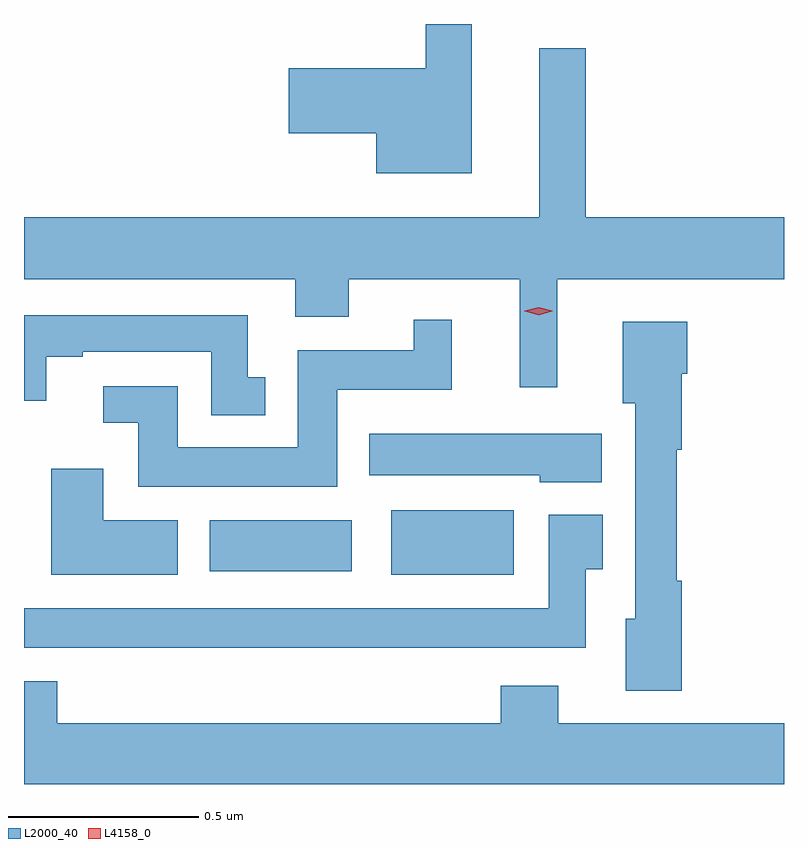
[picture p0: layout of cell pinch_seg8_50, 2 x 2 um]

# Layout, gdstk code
import gdstk
lib = gdstk.Library(unit=1e-6, precision=1e-09)
def R(c, l, rs):  # rectangles x0, y0, x1, y1
    for r in rs: c.add(gdstk.rectangle(r[:2], r[2:], *l))
def P(c, l, *ps):  # polygons
    for p in ps: c.add(gdstk.Polygon(p, *l))
L2000_40 = (2000, 40)
L4158_0 = (4158, 0)

pinch_seg8_50 = lib.new_cell('pinch_seg8_50')
R(pinch_seg8_50, L2000_40, [(887.567,1158.347,887.89,1158.517), (887.09,1158.356,887.464,1158.49)])
P(pinch_seg8_50, L2000_40, [(887.779,1159.796),(887.658,1159.796),(887.658,1159.679),(887.298,1159.679),(887.298,1159.508),(887.528,1159.508),(887.528,1159.403),(887.779,1159.403)],
  [(888.004,1159.124),(888.601,1159.124),(888.601,1159.288),(888.079,1159.288),(888.079,1159.732),(887.957,1159.732),(887.957,1159.288),(886.601,1159.288),(886.601,1159.124),(887.315,1159.124),(887.315,1159.025),(887.455,1159.025),(887.455,1159.124),(887.906,1159.124),(887.906,1158.84),(888.004,1158.84)],
  [(887.236,1158.867),(887.19,1158.867),(887.19,1159.029),(886.601,1159.029),(886.601,1158.804),(886.66,1158.804),(886.66,1158.921),(886.756,1158.921),(886.756,1158.933),(887.094,1158.933),(887.094,1158.767),(887.236,1158.767)],
  [(887.425,1158.833),(887.726,1158.833),(887.726,1159.018),(887.627,1159.018),(887.627,1158.937),(887.321,1158.937),(887.321,1158.682),(887.005,1158.682),(887.005,1158.843),(886.809,1158.843),(886.809,1158.747),(886.901,1158.747),(886.901,1158.578),(887.425,1158.578)],
  [(888.332,1158.331),(888.319,1158.331),(888.319,1158.676),(888.332,1158.676),(888.332,1158.876),(888.347,1158.876),(888.347,1159.012),(888.176,1159.012),(888.176,1158.798),(888.209,1158.798),(888.209,1158.231),(888.185,1158.231),(888.185,1158.041),(888.332,1158.041)],
  [(888.121,1158.718),(887.51,1158.718),(887.51,1158.608),(887.958,1158.608),(887.958,1158.59),(888.121,1158.59)],
  [(887.005,1158.49),(886.81,1158.49),(886.81,1158.625),(886.673,1158.625),(886.673,1158.347),(887.005,1158.347)],
  [(888.079,1158.361),(888.124,1158.361),(888.124,1158.505),(887.982,1158.505),(887.982,1158.259),(886.601,1158.259),(886.601,1158.155),(888.079,1158.155)],
  [(887.855,1158.055),(887.855,1157.956),(886.688,1157.956),(886.688,1158.067),(886.601,1158.067),(886.601,1157.796),(888.601,1157.796),(888.601,1157.956),(888.007,1157.956),(888.007,1158.055)])
P(pinch_seg8_50, L4158_0, [(887.955,1159.03),(887.919,1159.04),(887.918,1159.04),(887.919,1159.041),(887.955,1159.05),(887.991,1159.041),(887.991,1159.04),(887.991,1159.04)])

lib.write_gds('pinch_seg8_50.gds')
